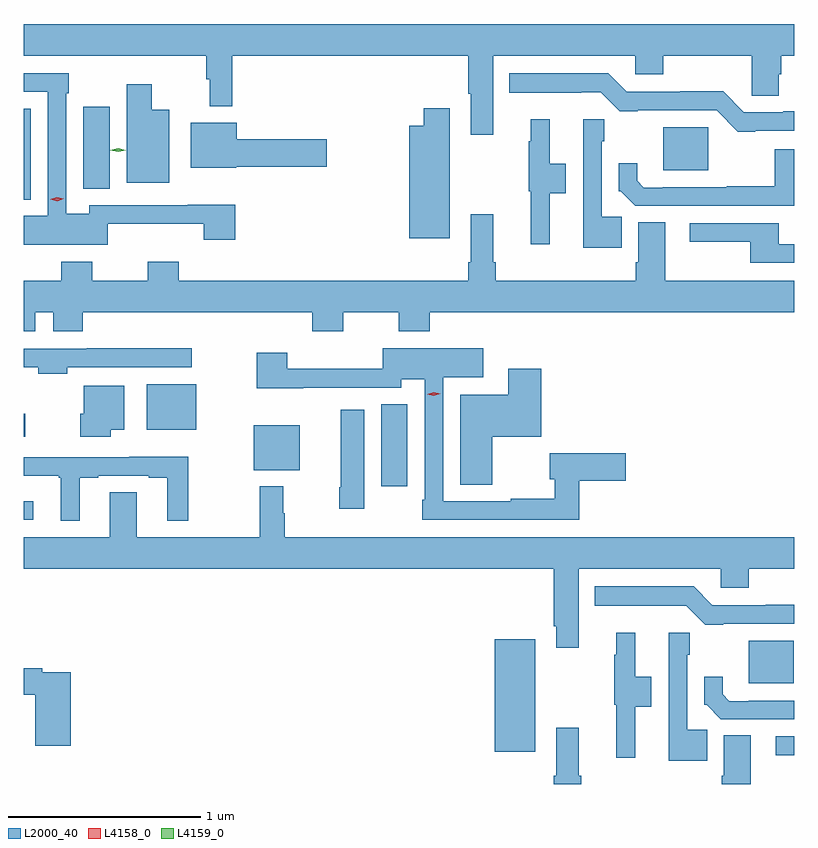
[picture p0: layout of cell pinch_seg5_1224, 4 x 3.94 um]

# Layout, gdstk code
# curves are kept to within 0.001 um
import gdstk
lib = gdstk.Library(unit=1e-6, precision=1e-09)
def R(c, l, rs):  # rectangles x0, y0, x1, y1
    for r in rs: c.add(gdstk.rectangle(r[:2], r[2:], *l))
def P(c, l, *ps):  # polygons
    for p in ps: c.add(gdstk.Polygon(p, *l))
L2000_40 = (2000, 40)
L4158_0 = (4158, 0)
L4159_0 = (4159, 0)

pinch_seg5_1224 = lib.new_cell('pinch_seg5_1224')
R(pinch_seg5_1224, L2000_40, [(426.471,886.43,426.569,886.527), (425.015,886.448,425.224,887.032), (426.332,886.802,426.565,887.023), (422.569,887.652,422.62,887.748), (424.424,887.826,424.561,888.251), (423.764,887.909,424.003,888.142), (422.569,888.083,422.578,888.201), (423.209,888.119,423.466,888.355), (422.569,889.313,422.605,889.783), (422.879,889.369,423.016,889.795), (425.888,889.466,426.121,889.687)])
P(pinch_seg5_1224, L2000_40, [(425.005,890.06),(425.742,890.06),(425.742,889.962),(425.889,889.962),(425.889,890.06),(426.348,890.06),(426.348,889.852),(426.487,889.852),(426.487,889.962),(426.5,889.962),(426.5,890.06),(426.569,890.06),(426.569,890.224),(422.569,890.224),(422.569,890.06),(423.517,890.06),(423.517,889.937),(423.536,889.937),(423.536,889.797),(423.653,889.797),(423.653,890.06),(424.877,890.06),(424.877,889.863),(424.889,889.863),(424.889,889.65),(425.005,889.65)],
  [(426.367,889.671),(426.569,889.671),(426.569,889.772),(426.51,889.772),(426.51,889.767),(426.306,889.767),(426.2,889.874),(425.977,889.874),(425.977,889.872),(425.7,889.872),(425.603,889.969),(425.09,889.969),(425.09,889.868),(425.565,889.869),(425.663,889.771),(425.755,889.771),(425.755,889.776),(426.165,889.776),(426.275,889.666),(426.367,889.666)],
  [(423.006,889.187),(423.503,889.187),(423.503,889.104),(423.668,889.104),(423.668,889.286),(423.421,889.286),(423.421,889.284),(422.91,889.284),(422.91,889.24),(422.79,889.24),(422.79,889.865),(422.803,889.865),(422.803,889.968),(422.569,889.968),(422.569,889.872),(422.694,889.872),(422.694,889.228),(422.569,889.228),(422.569,889.079),(423.006,889.079)],
  [(423.325,889.78),(423.234,889.78),(423.234,889.912),(423.104,889.912),(423.104,889.4),(423.325,889.4)],
  [(424.78,889.786),(424.646,889.786),(424.646,889.696),(424.571,889.696),(424.571,889.112),(424.78,889.112)],
  [(425.299,889.345),(425.383,889.345),(425.383,889.5),(425.299,889.5),(425.299,889.729),(425.201,889.729),(425.201,889.616),(425.19,889.616),(425.19,889.356),(425.201,889.356),(425.201,889.08),(425.299,889.08)],
  [(425.674,889.225),(425.568,889.225),(425.568,889.616),(425.581,889.616),(425.581,889.729),(425.472,889.729),(425.472,889.064),(425.674,889.064)],
  [(423.672,889.484),(424.141,889.484),(424.141,889.626),(423.676,889.626),(423.676,889.711),(423.437,889.711),(423.437,889.478),(423.672,889.478)],
  [(426.569,889.573),(426.468,889.573),(426.468,889.382),(426.217,889.382),(426.217,889.377),(425.887,889.377),(425.887,889.374),(425.788,889.374),(425.753,889.41),(425.753,889.501),(425.658,889.501),(425.658,889.356),(425.669,889.356),(425.744,889.281),(426.569,889.281)],
  [(422.629,888.728),(422.723,888.728),(422.723,888.629),(422.876,888.629),(422.876,888.728),(424.067,888.728),(424.067,888.629),(424.227,888.629),(424.227,888.728),(424.516,888.728),(424.516,888.629),(424.676,888.629),(424.676,888.728),(426.569,888.728),(426.569,888.892),(425.899,888.892),(425.899,889.196),(425.759,889.196),(425.759,888.988),(425.747,888.988),(425.747,888.892),(425.018,888.892),(425.018,888.988),(425.005,888.988),(425.005,889.237),(424.889,889.237),(424.889,888.988),(424.877,888.988),(424.877,888.892),(423.374,888.892),(423.374,888.991),(423.214,888.991),(423.214,888.892),(422.925,888.892),(422.925,888.991),(422.765,888.991),(422.765,888.892),(422.569,888.892),(422.569,888.629),(422.629,888.629)],
  [(426.569,889.08),(426.487,889.08),(426.487,889.191),(426.027,889.191),(426.027,889.094),(426.34,889.094),(426.34,888.984),(426.569,888.984)],
  [(422.796,888.444),(423.442,888.444),(423.442,888.542),(422.896,888.542),(422.896,888.54),(422.569,888.54),(422.569,888.444),(422.646,888.444),(422.646,888.409),(422.796,888.409)],
  [(425.453,887.854),(425.695,887.854),(425.695,887.996),(425.299,887.996),(425.299,887.861),(425.325,887.861),(425.325,887.761),(425.098,887.761),(425.098,887.748),(424.746,887.748),(424.746,888.392),(424.954,888.392),(424.954,888.541),(424.434,888.541),(424.434,888.434),(423.938,888.434),(423.938,888.517),(423.778,888.517),(423.778,888.335),(424.021,888.335),(424.021,888.336),(424.53,888.336),(424.53,888.38),(424.65,888.38),(424.65,887.755),(424.638,887.755),(424.638,887.652),(425.453,887.652)],
  [(425.002,888.083),(425.255,888.083),(425.255,888.436),(425.084,888.436),(425.084,888.301),(424.835,888.301),(424.835,887.833),(425.002,887.833)],
  [(423.022,888.119),(423.091,888.119),(423.091,888.346),(422.882,888.346),(422.882,888.201),(422.864,888.201),(422.864,888.083),(423.022,888.083)],
  [(424.336,888.223),(424.214,888.223),(424.214,887.821),(424.207,887.821),(424.207,887.709),(424.336,887.709)],
  [(422.86,887.868),(422.956,887.868),(422.956,887.88),(423.218,887.88),(423.218,887.868),(423.314,887.868),(423.314,887.645),(423.424,887.645),(423.424,887.977),(423.118,887.977),(423.118,887.976),(422.569,887.976),(422.569,887.879),(422.751,887.879),(422.751,887.868),(422.762,887.868),(422.762,887.645),(422.86,887.645)],
  [(425.449,887.396),(426.186,887.396),(426.186,887.298),(426.333,887.298),(426.333,887.396),(426.569,887.396),(426.569,887.56),(423.923,887.56),(423.923,887.684),(423.916,887.684),(423.916,887.824),(423.795,887.824),(423.795,887.56),(423.157,887.56),(423.157,887.795),(423.017,887.795),(423.017,887.56),(422.569,887.56),(422.569,887.396),(425.321,887.396),(425.321,887.098),(425.333,887.098),(425.333,886.986),(425.449,886.986)],
  [(426.199,887.112),(426.569,887.112),(426.569,887.21),(426.421,887.21),(426.421,887.208),(426.144,887.208),(426.047,887.305),(425.534,887.305),(425.534,887.204),(426.009,887.205),(426.107,887.107),(426.199,887.107)],
  [(426.118,886.561),(426.012,886.561),(426.012,886.952),(426.025,886.952),(426.025,887.065),(425.916,887.065),(425.916,886.4),(426.118,886.4)],
  [(425.743,886.681),(425.827,886.681),(425.827,886.836),(425.743,886.836),(425.743,887.065),(425.645,887.065),(425.645,886.952),(425.634,886.952),(425.634,886.692),(425.645,886.692),(425.645,886.416),(425.743,886.416)],
  [(422.813,886.86),(422.666,886.86),(422.666,886.88),(422.569,886.88),(422.569,886.744),(422.63,886.744),(422.63,886.479),(422.813,886.479)],
  [(426.569,886.713),(426.331,886.713),(426.331,886.71),(426.232,886.71),(426.197,886.746),(426.197,886.837),(426.102,886.837),(426.102,886.692),(426.113,886.692),(426.188,886.617),(426.569,886.617)],
  [(425.462,886.324),(425.449,886.324),(425.449,886.573),(425.333,886.573),(425.333,886.324),(425.321,886.324),(425.321,886.28),(425.462,886.28)],
  [(426.343,886.532),(426.203,886.532),(426.203,886.324),(426.191,886.324),(426.191,886.28),(426.343,886.28)])
P(pinch_seg5_1224, L4158_0, [(424.698,888.294),(424.663,888.303),(424.663,888.303),(424.663,888.303),(424.697,888.314),(424.732,888.305),(424.732,888.304),(424.732,888.304)],
  [(422.743,889.305),(422.708,889.314),(422.707,889.315),(422.708,889.315),(422.742,889.325),(422.777,889.316),(422.778,889.316),(422.777,889.316)])
P(pinch_seg5_1224, L4159_0, [(423.059,889.56),(423.019,889.569),(423.019,889.569),(423.019,889.569),(423.059,889.58),(423.098,889.57),(423.099,889.57),(423.098,889.57)])

lib.write_gds('pinch_seg5_1224.gds')
